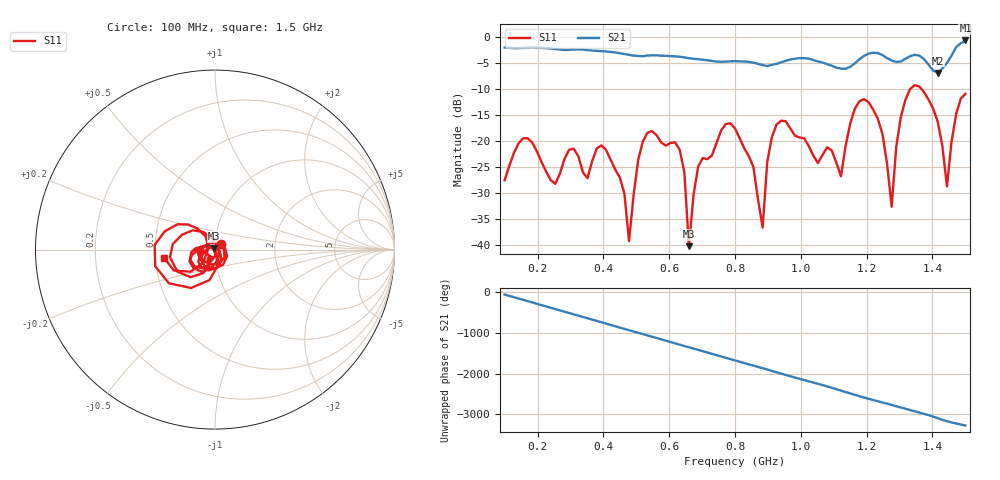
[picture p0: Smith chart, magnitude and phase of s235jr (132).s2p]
! NanoVNA-App
! Date: 2025-09-25 15:05:11
! Start: 100MHz Stop: 1,5GHz Points: 101
! S-Parameter data: F S11 S21 S12 S22
# Hz S RI R 50
!  Frequency  S11_Real  S11_Imag  S21_Real  S21_Imag  S12_Real  S12_Imag  S22_Real  S22_Imag
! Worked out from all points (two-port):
!   101 points, 100 MHz to 1.5 GHz, reference 50 ohm
!   highest |S21| = -0.61 dB at 1.5 GHz (marker M1); lowest = -6.8 dB at 1.416 GHz (marker M2)
!   |S21| within 3 dB of the highest: start of sweep to 512.9 MHz; 522.8 MHz to 602.2 MHz (79.39 MHz wide, 14.1 % of centre) (the widest 2 of 5)
!   lowest |S11| = -40.1 dB at 660 MHz (marker M3), VSWR 1.02, Z = 49.3 + j0.644 ohm
!   |S11| at or under -10 dB: start of sweep to 1.332 GHz; 1.367 GHz to end of sweep
!   S12 and S22 are empty: the file has one direction only
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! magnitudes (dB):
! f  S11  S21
! 100 MHz  -27.5  -2.0
! 156 MHz  -19.4  -2.0
! 338 MHz  -26.0  -2.4
! 408 MHz  -21.6  -2.7
! 478 MHz  -39.2  -3.4
! 520 MHz  -20.0  -3.6
! 576 MHz  -20.2  -3.5
! 632 MHz  -21.6  -3.7
! 660 MHz  -40.1  -4.0
! 688 MHz  -24.9  -4.2
! 800 MHz  -17.5  -4.6
! 884 MHz  -36.6  -5.3
! 926 MHz  -16.8  -5.1
! 1.038 GHz  -22.7  -4.4
! 1.122 GHz  -26.7  -6.0
! 1.192 GHz  -11.9  -3.6
! 1.248 GHz  -18.6  -3.4
! 1.276 GHz  -32.6  -4.4
! 1.332 GHz  -10.0  -3.6
! 1.416 GHz  -16.2  -6.8
! 1.444 GHz  -28.7  -4.9
! 1.5 GHz  -10.9  -0.6
